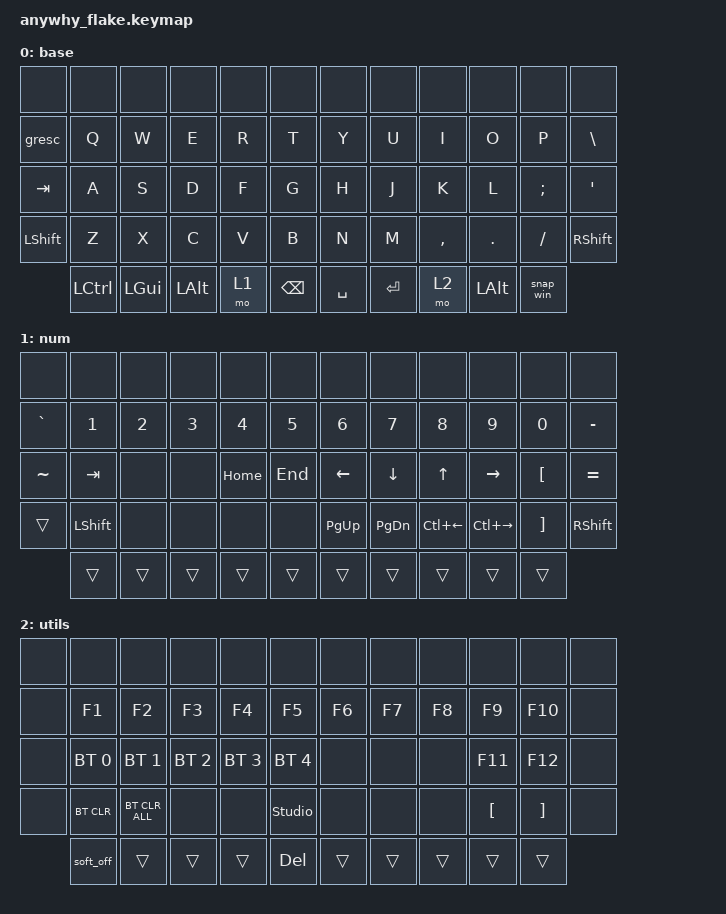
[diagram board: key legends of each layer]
#include <behaviors.dtsi>
#include <dt-bindings/zmk/bt.h>
#include <dt-bindings/zmk/keys.h>

&soft_off { hold-time-ms = <2000>; };

/ {
    combos {
        compatible = "zmk,combos";
    };

    macros {
        snap_win: snapshot_win {
            compatible = "zmk,behavior-macro";
            #binding-cells = <0>;
            bindings =
                <&macro_press>,
                <&kp LEFT_WIN &kp LEFT_SHIFT>,
                <&macro_tap>,
                <&kp S>,
                <&macro_release>,
                <&kp LEFT_WIN &kp LEFT_SHIFT>;

            label = "SNAPSHOT_WIN";
        };

        snap_mac_clip: snapshot_mac_clip {
            compatible = "zmk,behavior-macro";
            #binding-cells = <0>;
            bindings =
                <&macro_press>,
                <&kp LEFT_COMMAND &kp LEFT_CONTROL &kp LEFT_SHIFT>,
                <&macro_tap>,
                <&kp NUMBER_4>,
                <&macro_release>,
                <&kp LEFT_COMMAND &kp LEFT_CONTROL &kp LEFT_SHIFT>;

            label = "SNAPSHOT_MAC_CLIP";
        };

        snap_mac_file: snapshot_mac_file {
            compatible = "zmk,behavior-macro";
            #binding-cells = <0>;
            bindings =
                <&macro_press>,
                <&kp LEFT_COMMAND &kp LEFT_SHIFT>,
                <&macro_tap>,
                <&kp NUMBER_4>,
                <&macro_release>,
                <&kp LEFT_COMMAND &kp LEFT_SHIFT>;

            label = "SNAPSHOT_MAC_FILE";
        };
    };

    behaviors {
        hml: home_row_mod_left {
            compatible = "zmk,behavior-hold-tap";
            #binding-cells = <2>;
            flavor = "balanced";
            require-prior-idle-ms = <150>;
            tapping-term-ms = <200>;
            quick-tap-ms = <175>;
            bindings = <&kp>, <&kp>;
            hold-trigger-key-positions = < 0 1 2 3 4 5 12 13 14 15 16 17 24 25 26 27 28 29 36 37 38 39 40 41 48 49 50 51 52>; // List of keys on the right side of the keyboard
            hold-trigger-on-release;
        };
        hmr: home_row_mod_right {
            compatible = "zmk,behavior-hold-tap";
            #binding-cells = <2>;
            flavor = "balanced";
            require-prior-idle-ms = <150>;
            tapping-term-ms = <200>;
            quick-tap-ms = <175>;
            bindings = <&kp>, <&kp>;
            hold-trigger-key-positions = < 6 7 8 9 10 11 18 19 20 21 22 23 30 31 32 33 34 35 42 43 44 45 46 47 53 54 55 56 57>; // List of keys on the left side of the keyboard
            hold-trigger-on-release;
        };
    };
    keymap {
        compatible = "zmk,keymap";

        base {
            bindings = <
&none      &none        &none       &none     &none   &none               &none      &none        &none          &none         &none       &none
&gresc     &kp Q        &kp W       &kp E     &kp R   &kp T               &kp Y      &kp U        &kp I          &kp O         &kp P       &kp BSLH
&kp TAB    &kp A        &kp S       &kp D     &kp F   &kp G               &kp H      &kp J        &kp K          &kp L         &kp SEMI    &kp APOS
&kp LSHFT  &kp Z        &kp X       &kp C     &kp V   &kp B               &kp N      &kp M        &kp COMMA      &kp DOT       &kp FSLH    &kp RSHFT
           &kp LCTRL    &kp LGUI    &kp LALT  &mo 1   &kp BACKSPACE       &kp SPACE  &kp ENTER    &mo 2          &kp LALT      &snap_win
            >;
        };

        num {
            bindings = <
&none      &none       &none        &none     &none     &none             &none      &none        &none          &none         &none      &none
&kp GRAVE  &kp N1      &kp N2       &kp N3    &kp N4    &kp N5            &kp N6     &kp N7       &kp N8         &kp N9        &kp N0     &kp MINUS
&kp TILDE  &kp TAB     &none        &none     &kp HOME  &kp END           &kp LEFT   &kp DOWN     &kp UP         &kp RIGHT     &kp LBKT   &kp EQUAL
&trans     &kp LSHFT   &none        &none     &none     &none             &kp PG_UP  &kp PG_DN    &kp LC(LEFT)   &kp LC(RIGHT) &kp RBKT    &kp RSHFT
           &trans      &trans       &trans    &trans    &trans            &trans     &trans       &trans         &trans        &trans
            >;
        };

        utils {
            bindings = <
&none      &none         &none           &none         &none         &none              &none   &none       &none         &none         &none       &none
&none      &kp F1        &kp F2          &kp F3        &kp F4        &kp F5             &kp F6  &kp F7      &kp F8        &kp F9        &kp F10     &none
&none      &bt BT_SEL 0  &bt BT_SEL 1    &bt BT_SEL 2  &bt BT_SEL 3  &bt BT_SEL 4       &none   &none       &none         &kp F11       &kp F12     &none
&none      &bt BT_CLR    &bt BT_CLR_ALL  &none         &none         &studio_unlock     &none   &none       &none         &kp LBKT      &kp RBKT    &none
           &soft_off     &trans          &trans        &trans        &kp DEL            &trans  &trans      &trans        &trans        &trans
            >;
        };
    };
};
